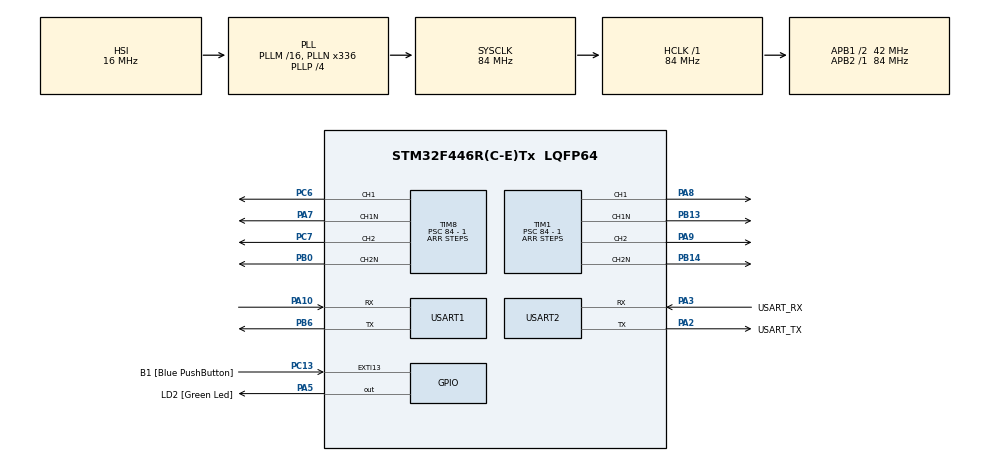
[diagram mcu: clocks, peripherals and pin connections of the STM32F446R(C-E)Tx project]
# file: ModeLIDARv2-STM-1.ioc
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Mcu.Family=STM32F4
Mcu.Name=STM32F446R(C-E)Tx
Mcu.Package=LQFP64
Mcu.UserConstants=STEPS,1000
NVIC.EXTI15_10_IRQn=true\:0\:0\:false\:false\:true\:true\:true\:true
NVIC.PriorityGroup=NVIC_PRIORITYGROUP_0
NVIC.USART1_IRQn=true\:0\:0\:false\:false\:true\:true\:true\:true
NVIC.USART2_IRQn=true\:0\:0\:false\:false\:true\:true\:true\:true
PA10.Mode=Asynchronous
PA10.Signal=USART1_RX
PA13.GPIO_Label=TMS
PA13.Mode=Serial_Wire
PA13.Signal=SYS_JTMS-SWDIO
PA14.GPIO_Label=TCK
PA14.Mode=Serial_Wire
PA14.Signal=SYS_JTCK-SWCLK
PA2.GPIO_Label=USART_TX
PA2.Mode=Asynchronous
PA2.Signal=USART2_TX
PA3.GPIO_Label=USART_RX
PA3.Mode=Asynchronous
PA3.Signal=USART2_RX
PA5.GPIO_Label=LD2 [Green Led]
PA5.Signal=GPIO_Output
PA7.Mode=PWM Generation1 CH1 CH1N
PA7.Signal=TIM8_CH1N
PA8.Signal=S_TIM1_CH1
PA9.Signal=S_TIM1_CH2
PB0.Mode=PWM Generation2 CH2 CH2N
PB0.Signal=TIM8_CH2N
PB13.Mode=PWM Generation1 CH1 CH1N
PB13.Signal=TIM1_CH1N
PB14.Mode=PWM Generation2 CH2 CH2N
PB14.Signal=TIM1_CH2N
PB3.GPIO_Label=SWO
PB3.Signal=SYS_JTDO-SWO
PB6.Mode=Asynchronous
PB6.Signal=USART1_TX
PC13.GPIO_Label=B1 [Blue PushButton]
PC13.GPIO_ModeDefaultEXTI=GPIO_MODE_IT_FALLING
PC13.Signal=GPXTI13
PC14-OSC32_IN.Mode=LSE-External-Oscillator
PC14-OSC32_IN.Signal=RCC_OSC32_IN
PC15-OSC32_OUT.Mode=LSE-External-Oscillator
PC15-OSC32_OUT.Signal=RCC_OSC32_OUT
PC6.Signal=S_TIM8_CH1
PC7.Signal=S_TIM8_CH2
PH0-OSC_IN.Mode=HSE-External-Oscillator
PH0-OSC_IN.Signal=RCC_OSC_IN
PH1-OSC_OUT.Mode=HSE-External-Oscillator
PH1-OSC_OUT.Signal=RCC_OSC_OUT
ProjectManager.HeapSize=0x200
ProjectManager.StackSize=0x400
ProjectManager.TargetToolchain=STM32CubeIDE
RCC.48MHZClocksFreq_Value=84000000
RCC.AHBFreq_Value=84000000
RCC.APB1CLKDivider=RCC_HCLK_DIV2
RCC.APB1Freq_Value=42000000
RCC.APB1TimFreq_Value=84000000
RCC.APB2Freq_Value=84000000
RCC.APB2TimFreq_Value=84000000
RCC.CortexFreq_Value=84000000
RCC.FLatency-AdvancedSettings=FLASH_LATENCY_2
RCC.HCLKFreq_Value=84000000
RCC.HSE_VALUE=8000000
RCC.HSI_VALUE=16000000
RCC.PLLN=336
RCC.PLLP=RCC_PLLP_DIV4
RCC.SYSCLKFreq_VALUE=84000000
RCC.SYSCLKSource=RCC_SYSCLKSOURCE_PLLCLK
RCC.USBFreq_Value=168000000
RCC.VCOOutputFreq_Value=336000000
SH.S_TIM1_CH1.0=TIM1_CH1,PWM Generation1 CH1 CH1N
SH.S_TIM1_CH2.0=TIM1_CH2,PWM Generation2 CH2 CH2N
SH.S_TIM8_CH1.0=TIM8_CH1,PWM Generation1 CH1 CH1N
SH.S_TIM8_CH2.0=TIM8_CH2,PWM Generation2 CH2 CH2N
TIM1.AutoReloadPreload=TIM_AUTORELOAD_PRELOAD_ENABLE
TIM1.Channel-PWM\ Generation1\ CH1\ CH1N=TIM_CHANNEL_1
TIM1.Channel-PWM\ Generation2\ CH2\ CH2N=TIM_CHANNEL_2
TIM1.DeadTime=232
TIM1.Period=STEPS
TIM1.Prescaler=84 - 1
TIM1.Pulse-PWM\ Generation1\ CH1\ CH1N=STEPS / 2
TIM1.Pulse-PWM\ Generation2\ CH2\ CH2N=STEPS / 2
TIM8.AutoReloadPreload=TIM_AUTORELOAD_PRELOAD_ENABLE
TIM8.Channel-PWM\ Generation1\ CH1\ CH1N=TIM_CHANNEL_1
TIM8.Channel-PWM\ Generation2\ CH2\ CH2N=TIM_CHANNEL_2
TIM8.DeadTime=232
TIM8.Period=STEPS
TIM8.Prescaler=84 - 1
TIM8.Pulse-PWM\ Generation1\ CH1\ CH1N=STEPS / 2
TIM8.Pulse-PWM\ Generation2\ CH2\ CH2N=STEPS / 2
USART1.VirtualMode=VM_ASYNC
USART2.VirtualMode=VM_ASYNC
board=NUCLEO-F446RE

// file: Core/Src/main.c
/* USER CODE BEGIN Header */
/**
  ******************************************************************************
  * @file           : main.c
  * @brief          : Main program body
  ******************************************************************************
  * @attention
  *
  * Copyright (c) 2022 STMicroelectronics.
  * All rights reserved.
  *
  * This software is licensed under terms that can be found in the LICENSE file
  * in the root directory of this software component.
  * If no LICENSE file comes with this software, it is provided AS-IS.
  *
  ******************************************************************************
  */
/* USER CODE END Header */
#include "main.h"

/* USER CODE BEGIN Includes */
#include "stdio.h"
/* USER CODE END Includes */

/* USER CODE BEGIN PD */
// #4096+4096
#define RX_LENGTH (10-1)
#define PATTERN "%04lu,%04lu"
/* USER CODE END PD */

TIM_HandleTypeDef htim1;
TIM_HandleTypeDef htim8;

UART_HandleTypeDef huart1;
UART_HandleTypeDef huart2;

/* USER CODE BEGIN PV */
uint32_t alphaL = STEPS / 2;
uint32_t alphaR = STEPS / 2;
int32_t dirL = 1;
int32_t dirR = 1;
uint8_t Rx_data1[RX_LENGTH+1];
uint8_t Rx_data2[RX_LENGTH+1];
/* USER CODE END PV */

void SystemClock_Config(void);
static void MX_GPIO_Init(void);
static void MX_USART2_UART_Init(void);
static void MX_TIM1_Init(void);
static void MX_TIM8_Init(void);
static void MX_USART1_UART_Init(void);

/* USER CODE BEGIN 0 */
/**
  * @brief  Retargets the C library printf function to the USART.
  * @param  None
  * @retval None
  */
int __io_putchar(int ch)
{
	HAL_UART_Transmit(&huart1, (uint8_t *)&ch, 1, 0xFFFF);
	HAL_UART_Transmit(&huart2, (uint8_t *)&ch, 1, 0xFFFF);
	return ch;
}

void update_duty_cycle(int left, int right){
	if( (__HAL_TIM_GET_COMPARE(&htim1, TIM_CHANNEL_1) == left) &&
	    (__HAL_TIM_GET_COMPARE(&htim8, TIM_CHANNEL_1) == right)){
		return;
	}
	__HAL_TIM_SET_COMPARE(&htim1, TIM_CHANNEL_1, left);
	__HAL_TIM_SET_COMPARE(&htim1, TIM_CHANNEL_2, left);
	__HAL_TIM_SET_COMPARE(&htim8, TIM_CHANNEL_1, right);
	__HAL_TIM_SET_COMPARE(&htim8, TIM_CHANNEL_2, right);
	printf("!" PATTERN "\r\n", alphaL, alphaR);
}

void HAL_GPIO_EXTI_Callback(uint16_t GPIO_Pin){
	HAL_GPIO_TogglePin(LD2_GPIO_Port, LD2_Pin);
	alphaL  = alphaL + dirL * STEPS / 10;
	alphaR  = alphaR + dirR * STEPS / 10;
	if (alphaL <= 0) {dirL = 1; alphaL = 0;}
	if (alphaL >= STEPS) {dirL = -1; alphaL = STEPS;}
	if (alphaR <= 0) {dirR = 1; alphaR = 0;}
	if (alphaR >= STEPS) {dirR = -1; alphaR = STEPS;}
	update_duty_cycle(alphaL, alphaR);
}

void HAL_UART_RxCpltCallback(UART_HandleTypeDef *huart)
{
	uint16_t rxlength = huart->RxXferSize;
	uint8_t* buf = huart->pRxBuffPtr - rxlength;
	buf[rxlength] = '\0';
	if ( (buf[0]=='?')){
		printf("=" PATTERN "\r\n", alphaL, alphaR);
	} else if (buf[0]=='#') {
		HAL_UART_Receive_IT(huart, buf, RX_LENGTH);
		return;
	} else if (rxlength > 1){
		if (sscanf((char*) buf, PATTERN, &alphaL, &alphaR) == 2){
			alphaL  = alphaL % (STEPS + 1);
			alphaR  = alphaR % (STEPS + 1);
			update_duty_cycle(alphaL, alphaR);
		}
	}
	HAL_UART_Receive_IT(huart, buf, 1);
}

/* USER CODE END 0 */

int main(void)
{

  /* MCU Configuration--------------------------------------------------------*/

  /* Reset of all peripherals, Initializes the Flash interface and the Systick. */
  HAL_Init();

  /* Configure the system clock */
  SystemClock_Config();

  /* Initialize all configured peripherals */
  MX_GPIO_Init();
  MX_USART2_UART_Init();
  MX_TIM1_Init();
  MX_TIM8_Init();
  MX_USART1_UART_Init();
  /* USER CODE BEGIN 2 */

  if (HAL_TIM_PWM_Start(&htim1, TIM_CHANNEL_1) != HAL_OK)
  	  	  {Error_Handler();}
  if (HAL_TIM_PWM_Start(&htim1, TIM_CHANNEL_2) != HAL_OK)
		  {Error_Handler();}
  if (HAL_TIM_PWM_Start(&htim8, TIM_CHANNEL_1) != HAL_OK)
		  {Error_Handler();}
  if (HAL_TIM_PWM_Start(&htim8, TIM_CHANNEL_2) != HAL_OK)
		  {Error_Handler();}
  if (HAL_TIMEx_PWMN_Start(&htim1, TIM_CHANNEL_1) != HAL_OK)
		  {Error_Handler();}
  if (HAL_TIMEx_PWMN_Start(&htim1, TIM_CHANNEL_2) != HAL_OK)
		  {Error_Handler();}
  if (HAL_TIMEx_PWMN_Start(&htim8, TIM_CHANNEL_1) != HAL_OK)
		  {Error_Handler();}
  if (HAL_TIMEx_PWMN_Start(&htim8, TIM_CHANNEL_2) != HAL_OK)
		  {Error_Handler();}

  printf("Started\r\n");
  printf("!" PATTERN "\r\n", alphaL, alphaR);
  /* USER CODE END 2 */

  /* Infinite loop */
  /* USER CODE BEGIN WHILE */
  HAL_UART_Receive_IT(&huart1, Rx_data1, 1);
  HAL_UART_Receive_IT(&huart2, Rx_data2, 1);
  HAL_PWR_EnableSleepOnExit();
  while (1)
  {
    /* USER CODE END WHILE */

  }
}

void SystemClock_Config(void)
{
  RCC_OscInitTypeDef RCC_OscInitStruct = {0};
  RCC_ClkInitTypeDef RCC_ClkInitStruct = {0};

  /** Configure the main internal regulator output voltage
  */
  __HAL_RCC_PWR_CLK_ENABLE();
  __HAL_PWR_VOLTAGESCALING_CONFIG(PWR_REGULATOR_VOLTAGE_SCALE3);

  /** Initializes the RCC Oscillators according to the specified parameters
  * in the RCC_OscInitTypeDef structure.
  */
  RCC_OscInitStruct.OscillatorType = RCC_OSCILLATORTYPE_HSI;
  RCC_OscInitStruct.HSIState = RCC_HSI_ON;
  RCC_OscInitStruct.HSICalibrationValue = RCC_HSICALIBRATION_DEFAULT;
  RCC_OscInitStruct.PLL.PLLState = RCC_PLL_ON;
  RCC_OscInitStruct.PLL.PLLSource = RCC_PLLSOURCE_HSI;
  RCC_OscInitStruct.PLL.PLLM = 16;
  RCC_OscInitStruct.PLL.PLLN = 336;
  RCC_OscInitStruct.PLL.PLLP = RCC_PLLP_DIV4;
  RCC_OscInitStruct.PLL.PLLQ = 2;
  RCC_OscInitStruct.PLL.PLLR = 2;
  if (HAL_RCC_OscConfig(&RCC_OscInitStruct) != HAL_OK)
  {
    Error_Handler();
  }

  /** Initializes the CPU, AHB and APB buses clocks
  */
  RCC_ClkInitStruct.ClockType = RCC_CLOCKTYPE_HCLK|RCC_CLOCKTYPE_SYSCLK
                              |RCC_CLOCKTYPE_PCLK1|RCC_CLOCKTYPE_PCLK2;
  RCC_ClkInitStruct.SYSCLKSource = RCC_SYSCLKSOURCE_PLLCLK;
  RCC_ClkInitStruct.AHBCLKDivider = RCC_SYSCLK_DIV1;
  RCC_ClkInitStruct.APB1CLKDivider = RCC_HCLK_DIV2;
  RCC_ClkInitStruct.APB2CLKDivider = RCC_HCLK_DIV1;

  if (HAL_RCC_ClockConfig(&RCC_ClkInitStruct, FLASH_LATENCY_2) != HAL_OK)
  {
    Error_Handler();
  }
}

static void MX_TIM1_Init(void)
{

  TIM_MasterConfigTypeDef sMasterConfig = {0};
  TIM_OC_InitTypeDef sConfigOC = {0};
  TIM_BreakDeadTimeConfigTypeDef sBreakDeadTimeConfig = {0};

  htim1.Instance = TIM1;
  htim1.Init.Prescaler = 84 - 1;
  htim1.Init.CounterMode = TIM_COUNTERMODE_UP;
  htim1.Init.Period = STEPS;
  htim1.Init.ClockDivision = TIM_CLOCKDIVISION_DIV1;
  htim1.Init.RepetitionCounter = 0;
  htim1.Init.AutoReloadPreload = TIM_AUTORELOAD_PRELOAD_ENABLE;
  if (HAL_TIM_PWM_Init(&htim1) != HAL_OK)
  {
    Error_Handler();
  }
  sMasterConfig.MasterOutputTrigger = TIM_TRGO_RESET;
  sMasterConfig.MasterSlaveMode = TIM_MASTERSLAVEMODE_DISABLE;
  if (HAL_TIMEx_MasterConfigSynchronization(&htim1, &sMasterConfig) != HAL_OK)
  {
    Error_Handler();
  }
  sConfigOC.OCMode = TIM_OCMODE_PWM1;
  sConfigOC.Pulse = STEPS / 2;
  sConfigOC.OCPolarity = TIM_OCPOLARITY_HIGH;
  sConfigOC.OCNPolarity = TIM_OCNPOLARITY_HIGH;
  sConfigOC.OCFastMode = TIM_OCFAST_DISABLE;
  sConfigOC.OCIdleState = TIM_OCIDLESTATE_RESET;
  sConfigOC.OCNIdleState = TIM_OCNIDLESTATE_RESET;
  if (HAL_TIM_PWM_ConfigChannel(&htim1, &sConfigOC, TIM_CHANNEL_1) != HAL_OK)
  {
    Error_Handler();
  }
  if (HAL_TIM_PWM_ConfigChannel(&htim1, &sConfigOC, TIM_CHANNEL_2) != HAL_OK)
  {
    Error_Handler();
  }
  sBreakDeadTimeConfig.OffStateRunMode = TIM_OSSR_DISABLE;
  sBreakDeadTimeConfig.OffStateIDLEMode = TIM_OSSI_DISABLE;
  sBreakDeadTimeConfig.LockLevel = TIM_LOCKLEVEL_OFF;
  sBreakDeadTimeConfig.DeadTime = 232;
  sBreakDeadTimeConfig.BreakState = TIM_BREAK_DISABLE;
  sBreakDeadTimeConfig.BreakPolarity = TIM_BREAKPOLARITY_HIGH;
  sBreakDeadTimeConfig.AutomaticOutput = TIM_AUTOMATICOUTPUT_DISABLE;
  if (HAL_TIMEx_ConfigBreakDeadTime(&htim1, &sBreakDeadTimeConfig) != HAL_OK)
  {
    Error_Handler();
  }
  HAL_TIM_MspPostInit(&htim1);

}

static void MX_TIM8_Init(void)
{

  TIM_MasterConfigTypeDef sMasterConfig = {0};
  TIM_OC_InitTypeDef sConfigOC = {0};
  TIM_BreakDeadTimeConfigTypeDef sBreakDeadTimeConfig = {0};

  htim8.Instance = TIM8;
  htim8.Init.Prescaler = 84 - 1;
  htim8.Init.CounterMode = TIM_COUNTERMODE_UP;
  htim8.Init.Period = STEPS;
  htim8.Init.ClockDivision = TIM_CLOCKDIVISION_DIV1;
  htim8.Init.RepetitionCounter = 0;
  htim8.Init.AutoReloadPreload = TIM_AUTORELOAD_PRELOAD_ENABLE;
  if (HAL_TIM_PWM_Init(&htim8) != HAL_OK)
  {
    Error_Handler();
  }
  sMasterConfig.MasterOutputTrigger = TIM_TRGO_RESET;
  sMasterConfig.MasterSlaveMode = TIM_MASTERSLAVEMODE_DISABLE;
  if (HAL_TIMEx_MasterConfigSynchronization(&htim8, &sMasterConfig) != HAL_OK)
  {
    Error_Handler();
  }
  sConfigOC.OCMode = TIM_OCMODE_PWM1;
  sConfigOC.Pulse = STEPS / 2;
  sConfigOC.OCPolarity = TIM_OCPOLARITY_HIGH;
  sConfigOC.OCNPolarity = TIM_OCNPOLARITY_HIGH;
  sConfigOC.OCFastMode = TIM_OCFAST_DISABLE;
  sConfigOC.OCIdleState = TIM_OCIDLESTATE_RESET;
  sConfigOC.OCNIdleState = TIM_OCNIDLESTATE_RESET;
  if (HAL_TIM_PWM_ConfigChannel(&htim8, &sConfigOC, TIM_CHANNEL_1) != HAL_OK)
  {
    Error_Handler();
  }
  if (HAL_TIM_PWM_ConfigChannel(&htim8, &sConfigOC, TIM_CHANNEL_2) != HAL_OK)
  {
    Error_Handler();
  }
  sBreakDeadTimeConfig.OffStateRunMode = TIM_OSSR_DISABLE;
  sBreakDeadTimeConfig.OffStateIDLEMode = TIM_OSSI_DISABLE;
  sBreakDeadTimeConfig.LockLevel = TIM_LOCKLEVEL_OFF;
  sBreakDeadTimeConfig.DeadTime = 232;
  sBreakDeadTimeConfig.BreakState = TIM_BREAK_DISABLE;
  sBreakDeadTimeConfig.BreakPolarity = TIM_BREAKPOLARITY_HIGH;
  sBreakDeadTimeConfig.AutomaticOutput = TIM_AUTOMATICOUTPUT_DISABLE;
  if (HAL_TIMEx_ConfigBreakDeadTime(&htim8, &sBreakDeadTimeConfig) != HAL_OK)
  {
    Error_Handler();
  }
  HAL_TIM_MspPostInit(&htim8);

}

static void MX_USART1_UART_Init(void)
{

  huart1.Instance = USART1;
  huart1.Init.BaudRate = 115200;
  huart1.Init.WordLength = UART_WORDLENGTH_8B;
  huart1.Init.StopBits = UART_STOPBITS_1;
  huart1.Init.Parity = UART_PARITY_NONE;
  huart1.Init.Mode = UART_MODE_TX_RX;
  huart1.Init.HwFlowCtl = UART_HWCONTROL_NONE;
  huart1.Init.OverSampling = UART_OVERSAMPLING_16;
  if (HAL_UART_Init(&huart1) != HAL_OK)
  {
    Error_Handler();
  }

}

static void MX_USART2_UART_Init(void)
{

  huart2.Instance = USART2;
  huart2.Init.BaudRate = 115200;
  huart2.Init.WordLength = UART_WORDLENGTH_8B;
  huart2.Init.StopBits = UART_STOPBITS_1;
  huart2.Init.Parity = UART_PARITY_NONE;
  huart2.Init.Mode = UART_MODE_TX_RX;
  huart2.Init.HwFlowCtl = UART_HWCONTROL_NONE;
  huart2.Init.OverSampling = UART_OVERSAMPLING_16;
  if (HAL_UART_Init(&huart2) != HAL_OK)
  {
    Error_Handler();
  }

}

static void MX_GPIO_Init(void)
{
  GPIO_InitTypeDef GPIO_InitStruct = {0};

  /* GPIO Ports Clock Enable */
  __HAL_RCC_GPIOC_CLK_ENABLE();
  __HAL_RCC_GPIOH_CLK_ENABLE();
  __HAL_RCC_GPIOA_CLK_ENABLE();
  __HAL_RCC_GPIOB_CLK_ENABLE();

  /*Configure GPIO pin Output Level */
  HAL_GPIO_WritePin(LD2_GPIO_Port, LD2_Pin, GPIO_PIN_RESET);

  /*Configure GPIO pin : B1_Pin */
  GPIO_InitStruct.Pin = B1_Pin;
  GPIO_InitStruct.Mode = GPIO_MODE_IT_FALLING;
  GPIO_InitStruct.Pull = GPIO_NOPULL;
  HAL_GPIO_Init(B1_GPIO_Port, &GPIO_InitStruct);

  /*Configure GPIO pin : LD2_Pin */
  GPIO_InitStruct.Pin = LD2_Pin;
  GPIO_InitStruct.Mode = GPIO_MODE_OUTPUT_PP;
  GPIO_InitStruct.Pull = GPIO_NOPULL;
  GPIO_InitStruct.Speed = GPIO_SPEED_FREQ_LOW;
  HAL_GPIO_Init(LD2_GPIO_Port, &GPIO_InitStruct);

  /* EXTI interrupt init*/
  HAL_NVIC_SetPriority(EXTI15_10_IRQn, 0, 0);
  HAL_NVIC_EnableIRQ(EXTI15_10_IRQn);

}

void Error_Handler(void)
{
  __disable_irq();
  while (1)
  {
  }
}
